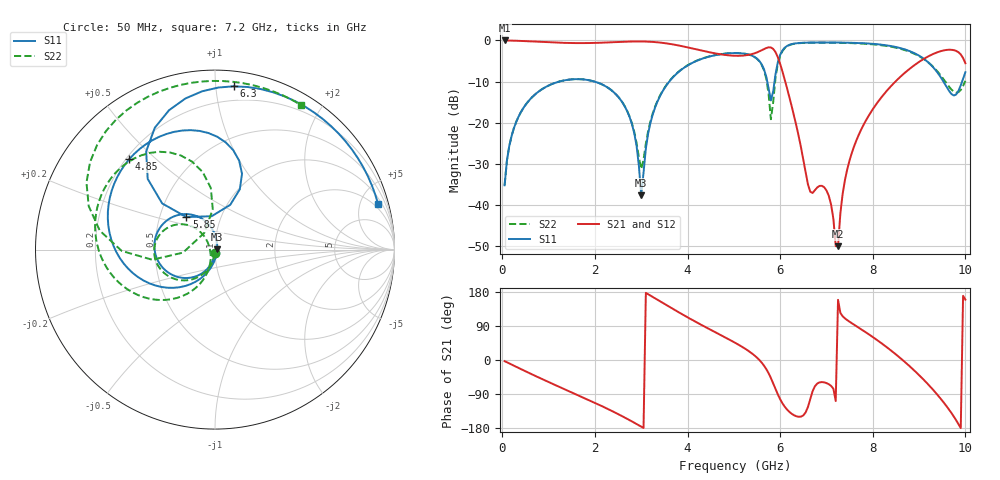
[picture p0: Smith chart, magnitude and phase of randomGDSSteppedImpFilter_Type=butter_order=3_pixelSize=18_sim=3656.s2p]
! freq	dB(S11)	phase(S11)	dB(S12)	phase(S12)
!  dB(S21)	phase(S21)	dB(S22)	phase(S22)
!S-par simulation data
#  GHz  S  DB  R 50
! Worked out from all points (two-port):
!   200 points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, 50 MHz to 10 GHz, reference 50 ohm
!   highest |S21| = 0.00 dB at 50 MHz (marker M1); lowest = -49.9 dB at 7.25 GHz (marker M2)
!   |S21| within 3 dB of the highest: start of sweep to 4.534 GHz; 9.363 GHz to 9.863 GHz (499.7 MHz wide, 5.2 % of centre) (the widest 2 of 3)
!   lowest |S11| = -37.6 dB at 3 GHz (marker M3), VSWR 1.03, Z = 51.3 + j0.248 ohm
!   |S11| at or under -10 dB: start of sweep to 1.224 GHz; 1.996 GHz to 3.605 GHz (1.609 GHz wide, 57.5 % of centre); 9.526 GHz to 9.928 GHz (401.4 MHz wide, 4.13 % of centre) (the widest 3 of 4)
!   |S22| runs from -35.2 to -0.5 dB; largest |S21 - S12| = 0
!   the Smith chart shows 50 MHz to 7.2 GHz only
!   S11 on the Smith chart (normalised r, x): 50 MHz: 1.00, -0.03; 4.85 GHz: 0.21, +0.41; 5.85 GHz: 0.68, +0.26; 6.3 GHz: 0.10, +1.12; 7.2 GHz: 1.51, +6.98
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0.05  -35.16 -93.0  -0.00 -3.0  -0.00 -3.0  -35.15 -92.7
0.5  -15.67 -121.6  -0.16 -29.7  -0.16 -29.7  -15.67 -118.7
1.75  -9.46 164.8  -0.65 -99.2  -0.65 -99.2  -9.46 176.2
2.65  -16.12 106.4  -0.31 -152.2  -0.31 -152.2  -16.07 132.1
3  -37.64 10.6  -0.25 -175.8  -0.25 -175.8  -31.20 -173.7
3.4  -13.63 -121.0  -0.51 155.5  -0.51 155.5  -13.50 -114.0
4.85  -3.17 133.5  -3.57 57.2  -3.57 57.2  -3.14 160.5
5.05  -3.07 119.8  -3.73 43.9  -3.73 43.9  -3.05 148.5
5.55  -4.98 79.6  -2.66 0.1  -2.66 0.1  -5.06 110.0
5.85  -12.35 131.3  -2.05 -61.7  -2.05 -61.7  -14.94 -174.6
6.05  -2.42 116.3  -7.55 -114.4  -7.55 -114.4  -2.57 161.0
6.3  -0.77 83.5  -18.30 -145.8  -18.30 -145.8  -0.82 127.3
6.7  -0.50 50.2  -37.02 -82.5  -37.02 -82.5  -0.54 94.6
7  -0.49 29.2  -36.41 -60.9  -36.41 -60.9  -0.54 73.4
7.2  -0.51 15.6  -49.93 -108.3  -49.93 -108.3  -0.56 59.1
7.25  -0.51 12.2  -49.94 158.7  -49.94 158.7  -0.57 55.4
7.55  -0.57 -8.3  -27.22 96.8  -27.22 96.8  -0.65 32.4
8.35  -1.28 -68.1  -11.63 29.3  -11.63 29.3  -1.44 -41.7
9  -3.70 -129.3  -5.21 -39.9  -5.21 -39.9  -3.81 -118.0
9.45  -8.65 170.1  -2.66 -99.7  -2.66 -99.7  -8.25 -177.6
9.8  -13.13 72.5  -2.54 -158.8  -2.54 -158.8  -12.66 128.6
10  -7.71 -0.4  -5.53 159.3  -5.53 159.3  -9.80 52.1
